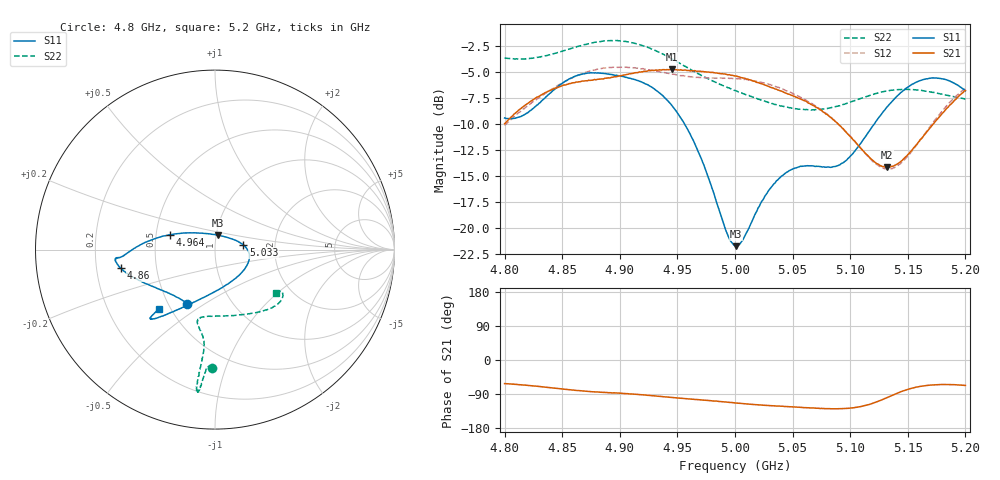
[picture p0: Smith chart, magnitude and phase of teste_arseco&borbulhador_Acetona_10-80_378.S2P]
! Network Analyzer HP8722D
! Hewlett-Packard
! Data name: Linha & Wilkinson
! Saver's name: Rodrigo Anjos
! Comments: Teste da utilização de aquisição
! continua pelo VNA HP8722D
! Time and date: 17/4/2025 17:30
!  Frequency  S11  S21  S12  S22
# HZ  S  MA R 50
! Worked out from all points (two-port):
!   401 points, 4.8 GHz to 5.2 GHz, reference 50 ohm
!   highest |S21| = -4.73 dB at 4.945 GHz (marker M1); lowest = -14.2 dB at 5.132 GHz (marker M2)
!   |S21| within 3 dB of the highest: 4.824 GHz to 5.06 GHz (236 MHz wide, 4.78 % of centre); 5.190466 GHz to end of sweep
!   lowest |S11| = -21.8 dB at 5.001 GHz (marker M3), VSWR 1.18, Z = 50.8 + j8.2 ohm
!   |S11| at or under -10 dB: 4.956 GHz to 5.121 GHz (164.7 MHz wide, 3.27 % of centre)
!   |S22| runs from -8.6 to -1.9 dB; largest |S21 - S12| = 0.87
!   S11 on the Smith chart (normalised r, x): 4.8 GHz: 0.62, -0.42; 4.86 GHz: 0.31, -0.09; 4.964 GHz: 0.59, +0.11; 5.033 GHz: 1.37, +0.07; 5.2 GHz: 0.43, -0.36
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4.8e9  0.3382 -117.2  0.3173 -62.3  0.3115 -176.6  0.6577 -91.5
4.818e9  0.3528 -136.4  0.3896 -66.4  0.3798 -176.3  0.6514 -93.1
4.86e9  0.5345 -168.7  0.5005 -79.3  0.5331 -179.7  0.7355 -95.6
4.867e9  0.55 -171.4  0.5089 -81.6  0.5513 179.0  0.757 -95.8
4.898e9  0.5417 -175.2  0.5376 -87.5  0.593 173.0  0.7994 -97.0
4.934e9  0.4494 179.0  0.5766 -95.8  0.5668 169.8  0.7006 -97.3
4.945e9  0.3899 174.0  0.5798 -98.9  0.5504 170.1  0.6526 -97.0
4.964e9  0.2624 161.6  0.5703 -103.6  0.5336 171.9  0.5683 -96.3
4.993e9  0.09433 111.2  0.5481 -111.1  0.5272 174.0  0.4757 -98.9
5e9  0.08229 83.6  0.5388 -113.2  0.5252 174.1  0.4592 -100.2
5.001e9  0.08149 79.7  0.5386 -113.3  0.5238 174.2  0.4571 -100.4
5.007e9  0.08773 56.0  0.5273 -115.0  0.521 174.0  0.443 -101.6
5.033e9  0.1608 9.3  0.4722 -120.9  0.484 172.8  0.3962 -103.4
5.049e9  0.1905 -5.8  0.4348 -123.6  0.4481 172.2  0.3771 -98.6
5.067e9  0.1987 -25.2  0.3911 -126.5  0.3963 171.9  0.3701 -88.2
5.095e9  0.2081 -73.7  0.2947 -128.2  0.2957 174.6  0.3938 -66.5
5.119e9  0.3064 -110.1  0.2124 -114.9  0.2107 -170.1  0.438 -50.5
5.132e9  0.3822 -120.6  0.1955 -99.1  0.1919 -152.5  0.4556 -44.1
5.134e9  0.3933 -121.8  0.1959 -96.4  0.1921 -149.5  0.4585 -43.4
5.146e9  0.4579 -127.3  0.2139 -81.5  0.2094 -132.1  0.4647 -38.8
5.168e9  0.5246 -132.4  0.2968 -66.9  0.3003 -113.1  0.4525 -33.5
5.2e9  0.4569 -133.4  0.4593 -67.1  0.4712 -109.3  0.4172 -35.1
